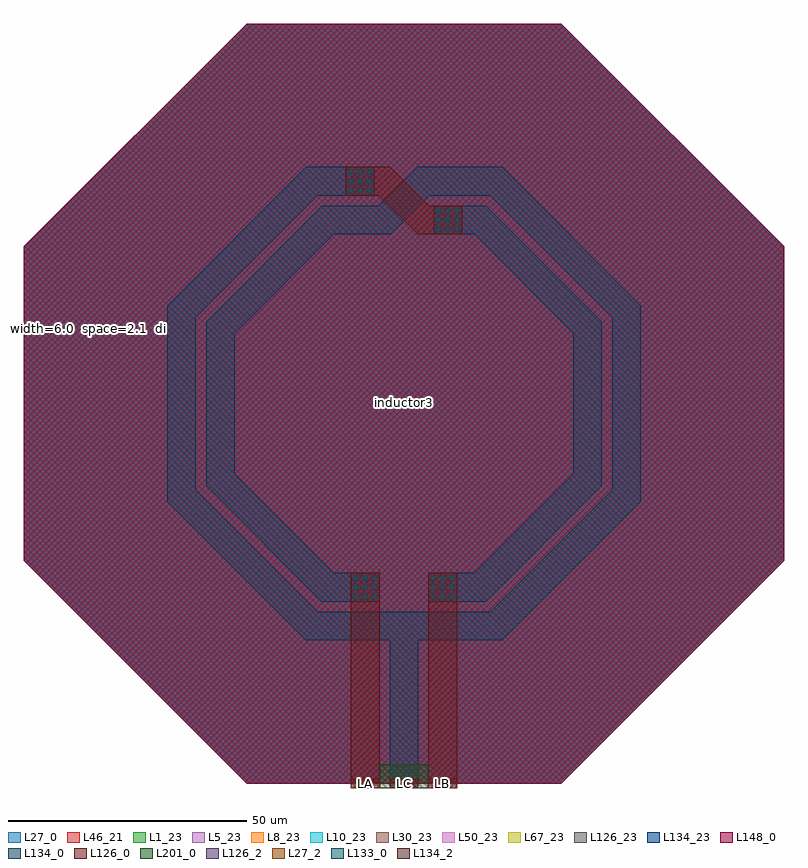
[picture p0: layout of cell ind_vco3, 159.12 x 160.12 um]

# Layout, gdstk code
import gdstk
lib = gdstk.Library(unit=1e-6, precision=1e-09)
def R(c, l, rs):  # rectangles x0, y0, x1, y1
    for r in rs: c.add(gdstk.rectangle(r[:2], r[2:], *l))
def A(c, l, x, y, w, h, nx, ny, dx, dy):  # array of equal rectangles
    R(c, l, [(x+i*dx, y+j*dy, x+i*dx+w, y+j*dy+h) for i in range(nx) for j in range(ny)])
def P(c, l, *ps):  # polygons
    for p in ps: c.add(gdstk.Polygon(p, *l))
L1_23 = (1, 23)
L5_23 = (5, 23)
L8_23 = (8, 23)
L10_23 = (10, 23)
L27_0 = (27, 0)
L27_2 = (27, 2)
L30_23 = (30, 23)
L46_21 = (46, 21)
L50_23 = (50, 23)
L67_23 = (67, 23)
L126_0 = (126, 0)
L126_2 = (126, 2)
L126_23 = (126, 23)
L133_0 = (133, 0)
L134_0 = (134, 0)
L134_2 = (134, 2)
L134_23 = (134, 23)
L148_0 = (148, 0)
L201_0 = (201, 0)

ind_vco3 = lib.new_cell('ind_vco3')
P(ind_vco3, L1_23, [(-32.95,0),(-79.56,46.61),(-79.56,112.51),(-32.95,159.12),(32.95,159.12),(79.56,112.51),(79.56,46.61),(32.95,0)])
P(ind_vco3, L5_23, [(-32.95,0),(-79.56,46.61),(-79.56,112.51),(-32.95,159.12),(32.95,159.12),(79.56,112.51),(79.56,46.61),(32.95,0)])
P(ind_vco3, L8_23, [(-32.95,0),(-79.56,46.61),(-79.56,112.51),(-32.95,159.12),(32.95,159.12),(79.56,112.51),(79.56,46.61),(32.95,0)])
P(ind_vco3, L10_23, [(-32.95,0),(-79.56,46.61),(-79.56,112.51),(-32.95,159.12),(32.95,159.12),(79.56,112.51),(79.56,46.61),(32.95,0)])
P(ind_vco3, L27_0, [(-32.95,0),(-79.56,46.61),(-79.56,112.51),(-32.95,159.12),(32.95,159.12),(79.56,112.51),(79.56,46.61),(32.95,0)])
A(ind_vco3, L27_2, -11.1, -1, 6, 2, 3, 1, 8.1, 0)
P(ind_vco3, L30_23, [(-32.95,0),(-79.56,46.61),(-79.56,112.51),(-32.95,159.12),(32.95,159.12),(79.56,112.51),(79.56,46.61),(32.95,0)])
P(ind_vco3, L46_21, [(-32.95,0),(-79.56,46.61),(-79.56,112.51),(-32.95,159.12),(32.95,159.12),(79.56,112.51),(79.56,46.61),(32.95,0)])
P(ind_vco3, L50_23, [(-32.95,0),(-79.56,46.61),(-79.56,112.51),(-32.95,159.12),(32.95,159.12),(79.56,112.51),(79.56,46.61),(32.95,0)])
P(ind_vco3, L67_23, [(-32.95,0),(-79.56,46.61),(-79.56,112.51),(-32.95,159.12),(32.95,159.12),(79.56,112.51),(79.56,46.61),(32.95,0)])
P(ind_vco3, L126_0, [(2.83,114.98),(-5.29,123.1),(-12.18,123.1),(-12.18,129.1),(-2.83,129.1),(5.29,120.98),(12.18,120.98),(12.18,114.98)])
R(ind_vco3, L126_2, [(-11.1,-1,-5.1,1), (-11.1,-1,-5.1,1), (5.1,-1,11.1,1), (5.1,-1,11.1,1)])
P(ind_vco3, L126_23, [(-32.95,0),(-79.56,46.61),(-79.56,112.51),(-32.95,159.12),(32.95,159.12),(79.56,112.51),(79.56,46.61),(32.95,0)])
A(ind_vco3, L133_0, -10.51, 38.69, 0.9, 0.9, 3, 3, 1.96, 1.96)
A(ind_vco3, L133_0, 5.69, 38.69, 0.9, 0.9, 3, 3, 1.96, 1.96)
A(ind_vco3, L133_0, 6.77, 115.57, 0.9, 0.9, 3, 3, 1.96, 1.96)
A(ind_vco3, L133_0, -11.59, 123.67, 0.9, 0.9, 3, 3, 1.96, 1.96)
R(ind_vco3, L134_0, [(-6.18,30,6.18,36)])
P(ind_vco3, L134_0, [(5.1,38.1),(5.1,44.1),(14.675,44.1),(35.44,64.865),(35.44,94.215),(14.675,114.98),(6.18,114.98),(6.18,120.98),(17.17,120.98),(41.44,96.71),(41.44,62.37),(17.17,38.1)],
  [(-17.17,38.1),(-41.44,62.37),(-41.44,96.71),(-17.17,120.98),(-6.18,120.98),(-6.18,114.98),(-14.675,114.98),(-35.44,94.215),(-35.44,64.865),(-14.675,44.1),(-5.1,44.1),(-5.1,38.1)],
  [(-6.18,114.98),(-6.18,120.98),(-5.29,120.98),(2.83,129.1),(6.18,129.1),(6.18,123.1),(5.32,123.1),(-2.8,114.98)],
  [(6.18,30),(6.18,36),(18.035,36),(43.55,61.515),(43.55,97.585),(18.035,123.1),(6.18,123.1),(6.18,129.1),(20.53,129.1),(49.55,100.08),(49.55,59.02),(20.53,30)],
  [(-20.53,30),(-49.55,59.02),(-49.55,100.08),(-20.53,129.1),(-6.18,129.1),(-6.18,123.1),(-18.035,123.1),(-43.55,97.585),(-43.55,61.515),(-18.035,36),(-6.18,36),(-6.18,30)])
R(ind_vco3, L134_2, [(-3,-1,3,1), (-3,-1,3,1)])
P(ind_vco3, L134_23, [(-32.95,0),(-79.56,46.61),(-79.56,112.51),(-32.95,159.12),(32.95,159.12),(79.56,112.51),(79.56,46.61),(32.95,0)])
P(ind_vco3, L148_0, [(-32.95,0),(-79.56,46.61),(-79.56,112.51),(-32.95,159.12),(32.95,159.12),(79.56,112.51),(79.56,46.61),(32.95,0)])
R(ind_vco3, L201_0, [(-5.1,-1,5.1,4)])
ind_vco3.add(gdstk.FlexPath([(0,-1),(0,30)], 6, ends="flush", simple_path=True, layer=134, datatype=0))  # L134_0
ind_vco3.add(gdstk.FlexPath([(8.1,-1),(8.1,44.1)], 6, ends="flush", simple_path=True, layer=126, datatype=0))  # L126_0
ind_vco3.add(gdstk.FlexPath([(-8.1,-1),(-8.1,44.1)], 6, ends="flush", simple_path=True, layer=126, datatype=0))  # L126_0
ind_vco3.add(gdstk.Label('LC', (0,0), layer=27, texttype=25))
ind_vco3.add(gdstk.Label('LB', (8.1,0), layer=27, texttype=25))
ind_vco3.add(gdstk.Label('LA', (-8.1,0), layer=27, texttype=25))
ind_vco3.add(gdstk.Label('inductor3', (0,79.822), layer=63, texttype=0))
ind_vco3.add(gdstk.Label('  width=6.0\n  space=2.1\n  diameter=70.88\n  turns=2', (-79.56,95.345), layer=63, texttype=0))

lib.write_gds('ind_vco3.gds')
